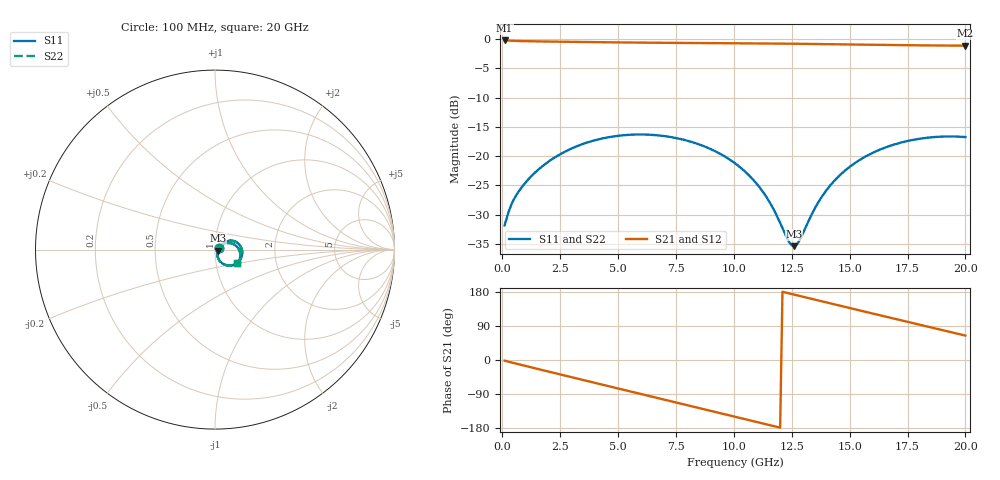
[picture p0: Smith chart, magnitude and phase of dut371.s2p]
! Touchstone file exported from HFSS 2026.1.0
!  File:  C:/ffzhzh/LocalFiles/Ansys_Project_Files/temp_train_TSV_RDL_371_1783040582_55676.aedt
!  Generated:  09:16:23 AM Jul  3, 2026
!  Design:  TSV_RDL
!  Project:  temp_train_TSV_RDL_371_1783040582_55676
! Variables:
!  h_bsmrdl = 3.38um
!  h_ox = 20um
!  h_rdl = 5um
!  h_sub = 77.09um
!  h_tmrdl = 2.37um
!  h_tsv = 77.09um
!  h_via = 3um
!  l_bsmrdl = 945.23um
!  l_sub = 5050.57um
!  l_tmrdl = 414.48um
!  m_sub = 200um
!  pitch = 31.69um
!  r_tsv = 5.19um
!  s_tmrdl = 10um
!  w_bsmrdl = 24.78um
!  w_sub = 500um
!  w_tmrdl = 27.54um
!  x_tsv_center1 = 428.25um
!  x_tsv_center2 = 1398.26um
!  x_tsv_center3 = 1840.28um
!  x_tsv_center4 = 2810.29um
!  x_tsv_center5 = 3252.31um
!  x_tsv_center6 = 4222.32um
# GHz S MA R 50.000000
! Terminal data exported
! Port[1] = TM_RDL1_1_T1
! Port[2] = TM_RDL5_1_T1
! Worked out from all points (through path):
!   200 points, 100 MHz to 20 GHz, reference 50 ohm
!   highest |S21| = -0.22 dB at 100 MHz (marker M1); lowest = -1.1 dB at 20 GHz (marker M2)
!   group delay of S21, straight-line fit = 41 ps
!   lowest |S11| = -35.4 dB at 12.6 GHz (marker M3), VSWR 1.03, Z = 51.7 - j0.524 ohm
!   |S11| at or under -10 dB: start of sweep to end of sweep
!   |S22| runs from -35.4 to -16.3 dB; largest |S21 - S12| = 1.6e-14
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0.1  0.02563 15.7  0.9755 -1.7  0.9755 -1.7  0.02563 15.7
! Gamma 0 0 0 0
! Port Impedance 50 0 50 0
0.5  0.0428 33.2  0.9671 -8.1  0.9671 -8.1  0.0428 33.2
1.2  0.06584 36.3  0.96 -18.6  0.96 -18.6  0.06584 36.3
2.2  0.09574 31.3  0.9536 -33.6  0.9536 -33.6  0.09575 31.3
3.5  0.1277 18.4  0.9461 -52.9  0.9461 -52.9  0.1277 18.4
4.4  0.143 7.8  0.9413 -66.3  0.9413 -66.3  0.143 7.7
5.2  0.151 -2.2  0.9376 -78.1  0.9376 -78.1  0.151 -2.3
6.8  0.1503 -22.8  0.932 -101.6  0.932 -101.6  0.1503 -22.8
8.4  0.1282 -43.1  0.9281 -125.2  0.9281 -125.2  0.1283 -43.2
10.1  0.0856 -62.5  0.9241 -150.4  0.9241 -150.4  0.08568 -62.6
11.3  0.04823 -69.8  0.9203 -168.2  0.9203 -168.2  0.04831 -69.9
11.7  0.03567 -67.5  0.9188 -174.1  0.9188 -174.1  0.03574 -67.6
12.4  0.01832 -37.2  0.9157 175.5  0.9157 175.5  0.01837 -37.5
12.6  0.01704 -17.3  0.9148 172.6  0.9148 172.6  0.01706 -17.6
12.8  0.01856 2.2  0.9138 169.6  0.9138 169.6  0.01855 1.9
13.4  0.03295 29.6  0.9107 160.7  0.9107 160.7  0.03292 29.4
14  0.05126 33.2  0.9073 151.9  0.9073 151.9  0.05123 33.0
14.7  0.07245 29.6  0.9033 141.6  0.9033 141.6  0.07244 29.4
15.6  0.09723 21.1  0.8981 128.4  0.8981 128.4  0.09724 20.9
16.7  0.1218 8.7  0.8921 112.3  0.8921 112.3  0.1218 8.5
18.3  0.1435 -10.5  0.885 89.1  0.885 89.1  0.1436 -10.7
20  0.1458 -31.0  0.8801 64.5  0.8801 64.5  0.1459 -31.3
